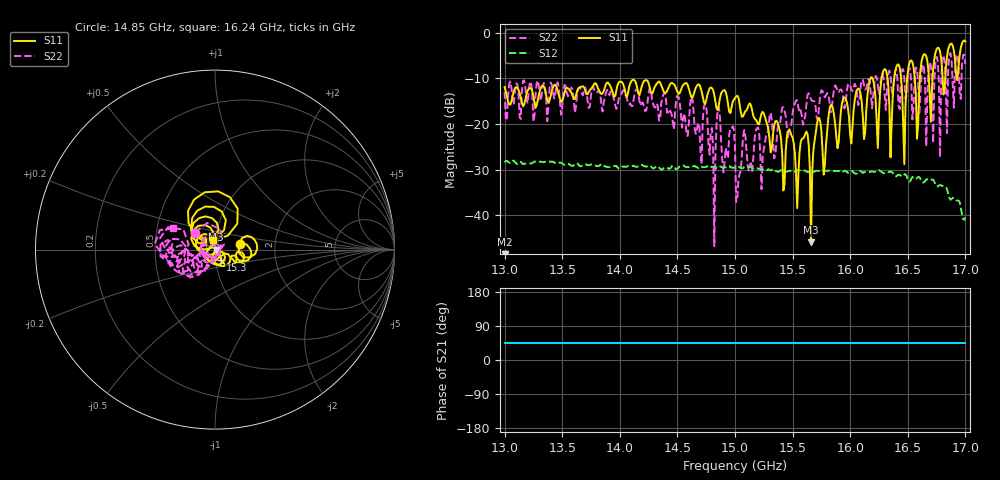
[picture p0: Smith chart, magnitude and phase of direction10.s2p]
!Keysight Technologies,P9374A,MY57211810,A.19.30.04
!Date: Friday, May 02, 2025 09:01:33
!Correction: S11(Off)
!S21(Off)
!S12(Off)
!S22(Off)
!S2P File: Measurements: S11, S21, S12, S22:
# Hz S  dB  R 50
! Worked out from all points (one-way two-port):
!   401 points, 13 GHz to 17 GHz, reference 50 ohm
!   highest |S21| = - dB at 13 GHz (marker M1); lowest = - dB at 13 GHz (marker M2)
!   lowest |S11| = -45.9 dB at 15.66 GHz (marker M3), VSWR 1.01, Z = 50.5 - j0.0196 ohm
!   |S11| at or under -10 dB: start of sweep to 16.18 GHz; 16.19392 GHz to 16.27277 GHz (78.85 MHz wide, 0.486 % of centre); 16.32355 GHz to 16.38203 GHz (58.48 MHz wide, 0.358 % of centre) (the widest 3 of 8)
!   |S22| runs from -46.7 to -4.4 dB; largest |S21 - S12| = 0.04
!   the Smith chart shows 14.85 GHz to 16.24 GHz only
!   S11 on the Smith chart (normalised r, x): 14.85 GHz: 1.32, +0.09; 15.3 GHz: 1.06, -0.13; 16.24 GHz: 0.97, +0.10
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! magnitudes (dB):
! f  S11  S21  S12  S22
! 13 GHz  -11.9  -  -28.4  -12.9
! 13.67 GHz  -11.8  -  -29.1  -13.3
! 14.34 GHz  -10.6  -  -29.5  -19.2
! 14.74 GHz  -15.6  -  -29.4  -15.5
! 14.8 GHz  -12.2  -  -29.4  -20.9
! 14.85 GHz  -16.9  -  -29.7  -16.7
! 15 GHz  -14.3  -  -29.5  -25.0
! 15.3 GHz  -23.4  -  -30.0  -18.2
! 15.54 GHz  -38.4  -  -30.2  -14.8
! 15.61 GHz  -22.1  -  -30.2  -18.0
! 15.66 GHz  -45.9  -  -30.3  -14.6
! 15.67 GHz  -30.7  -  -30.4  -14.9
! 15.83 GHz  -15.9  -  -30.3  -17.4
! 16.24 GHz  -25.2  -  -30.2  -11.7
! 16.3 GHz  -7.9  -  -30.7  -13.9
! 16.34 GHz  -15.9  -  -30.5  -8.3
! 16.41 GHz  -6.9  -  -31.2  -10.2
! 16.47 GHz  -28.8  -  -31.0  -9.9
! 16.52 GHz  -6.2  -  -32.5  -8.0
! 16.58 GHz  -23.2  -  -31.8  -8.0
! 16.64 GHz  -4.7  -  -32.8  -7.5
! 17 GHz  -1.9  -  -40.4  -6.9
